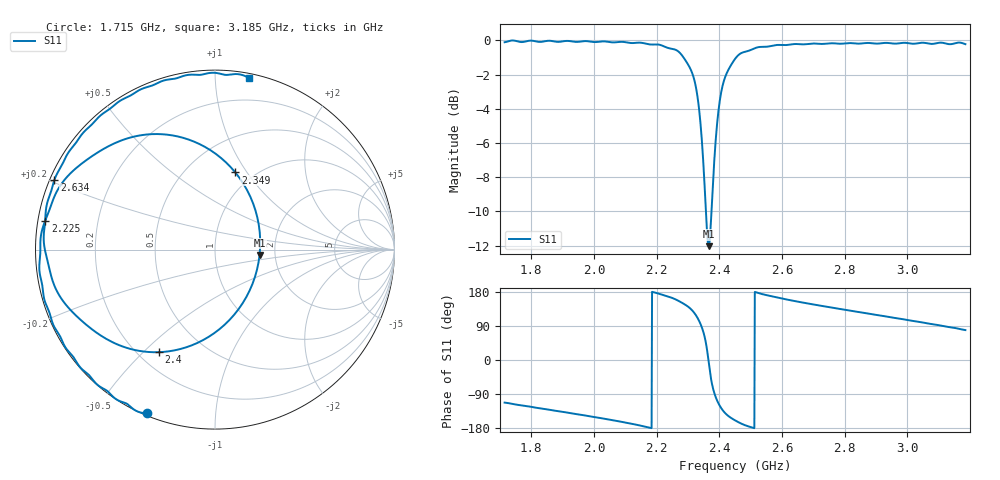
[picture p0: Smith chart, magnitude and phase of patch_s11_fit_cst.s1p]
! TOUCHSTONE file generated by CST MICROWAVE STUDIO
! Date and time: Wed Aug  5 21:28:08 2026
! Project name: patch.cst
! Parameters = {c0=299.792; feed_line_length=16.8; feed_line_width=2.8; frequency_centre=2.45; groundplane_feed_extension=6.4; groundplane_length=84; groundplane_width=74.4; matching_line_length=17.6; matching_line_width=0.4; metal_thickness=0.4; patch_length=28; patch_width=37.2; relative_permittiv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
! Header version: 2024
! Port assignment regex: !\s*Touchstone port\s*([0-9]+)\s*=\s*(CST MWS port|CST DES external port|CST DES block port)\s*(.+)\s* \(\"(.*)\"\)(\s*mode\s*([0-9]+))?.*
! Touchstone port assignment:
! Touchstone port 1 = CST MWS port 1 ("")
# GHz S MA R 50
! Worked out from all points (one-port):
!   1001 points, 1.715 GHz to 3.185 GHz, reference 50 ohm
!   lowest |S11| = -12.0 dB at 2.366 GHz (marker M1), VSWR 1.67, Z = 82.9 - j5.19 ohm
!   |S11| at or under -10 dB: 2.357 GHz to 2.375 GHz (17.78 MHz wide, 0.751 % of centre)
!   S11 on the Smith chart (normalised r, x): 1.715 GHz: 0.01, -0.67; 2.225 GHz: 0.02, +0.08; 2.349 GHz: 0.83, +0.89; 2.4 GHz: 0.28, -0.56; 2.634 GHz: 0.01, +0.21; 3.185 GHz: 0.03, +1.21
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1.715  0.9881 -112.5
1.79438  0.9985 -122.8
1.89875  0.9932 -136.5
2.0825  0.9905 -162.3
2.15306  0.984 -174.2
2.22509  0.9595 170.4
2.26625  0.933 157.6
2.30153  0.8465 139.9
2.31329  0.8033 131.0
2.32358  0.7432 120.3
2.33681  0.6124 100.9
2.34857  0.4444 75.2
2.35739  0.3137 44.1
2.36621  0.2502 -6.7
2.37503  0.3169 -56.6
2.38385  0.4444 -86.9
2.3912  0.5491 -103.7
2.40002  0.6523 -118.8
2.41031  0.7367 -132.1
2.4206  0.7902 -141.8
2.45  0.8829 -159.2
2.47499  0.9226 -169.7
2.52056  0.954 177.8
2.63375  0.9752 156.7
2.8175  0.9825 130.3
3.00125  0.9824 105.3
3.10562  0.9854 90.9
3.185  0.9754 78.9
